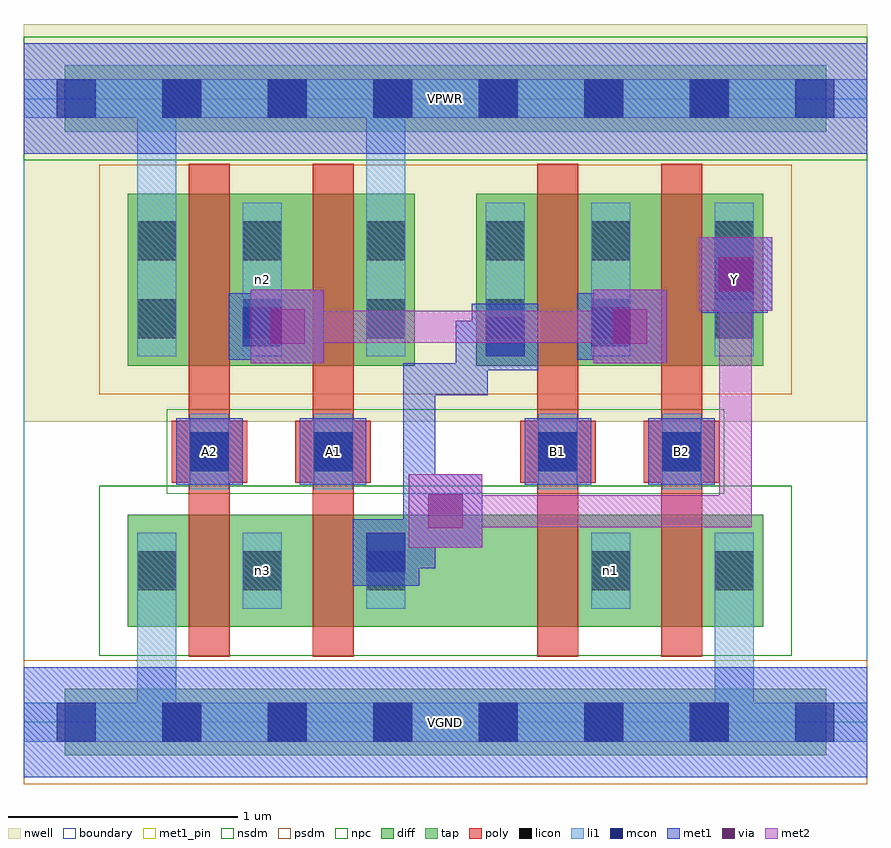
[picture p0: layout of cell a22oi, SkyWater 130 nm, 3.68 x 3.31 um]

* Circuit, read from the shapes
.subckt a22oi A1 A2 B1 B2 VGND VPWR Y n1 n2 n3
XM1 n3 A2 VGND VGND sky130_fd_pr__nfet_01v8 w=0.49 l=0.18
XM2 Y A1 n3 VGND sky130_fd_pr__nfet_01v8 w=0.49 l=0.18
XM3 n1 B1 Y VGND sky130_fd_pr__nfet_01v8 w=0.49 l=0.18
XM4 VGND B2 n1 VGND sky130_fd_pr__nfet_01v8 w=0.49 l=0.18
XM5 n2 A2 VPWR VPWR sky130_fd_pr__pfet_01v8 w=0.75 l=0.18
XM6 VPWR A1 n2 VPWR sky130_fd_pr__pfet_01v8 w=0.75 l=0.18
XM7 n2 B1 Y VPWR sky130_fd_pr__pfet_01v8 w=0.75 l=0.18
XM8 Y B2 n2 VPWR sky130_fd_pr__pfet_01v8 w=0.75 l=0.18
.ends

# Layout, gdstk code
import gdstk
lib = gdstk.Library(unit=1e-6, precision=1e-09)
def R(c, l, rs):  # rectangles x0, y0, x1, y1
    for r in rs: c.add(gdstk.rectangle(r[:2], r[2:], *l))
def A(c, l, x, y, w, h, nx, ny, dx, dy):  # array of equal rectangles
    R(c, l, [(x+i*dx, y+j*dy, x+i*dx+w, y+j*dy+h) for i in range(nx) for j in range(ny)])
nwell = (64, 20)
diff = (65, 20)
tap = (65, 44)
poly = (66, 20)
licon = (66, 44)
li1 = (67, 20)
mcon = (67, 44)
met1_pin = (68, 16)
met1 = (68, 20)
via = (68, 44)
met2 = (69, 20)
nsdm = (93, 44)
psdm = (94, 20)
npc = (95, 20)
boundary = (235, 4)

a22oi = lib.new_cell('a22oi')
R(a22oi, nwell, [(0,1.31,3.68,3.045)])
R(a22oi, diff, [(0.455,0.415,3.225,0.905), (0.455,1.555,1.705,2.305), (1.975,1.555,3.225,2.305)])
R(a22oi, tap, [(0.18,-0.145,3.5,0.145), (0.18,2.575,3.5,2.865)])
R(a22oi, poly, [(0.72,0.285,0.9,2.435), (1.26,0.285,1.44,2.435), (2.24,0.285,2.42,2.435), (2.78,0.285,2.96,2.435), (0.645,1.045,0.975,1.315), (1.185,1.045,1.515,1.315), (2.165,1.045,2.495,1.315), (2.705,1.045,3.035,1.315)])
A(a22oi, licon, 0.605, -0.085, 0.17, 0.17, 6, 2, 0.46, 2.72)
R(a22oi, licon, [(0.495,0.575,0.665,0.745), (0.955,0.575,1.125,0.745), (1.495,0.575,1.665,0.745), (2.475,0.575,2.645,0.745), (3.015,0.575,3.185,0.745), (0.725,1.095,0.895,1.265), (1.265,1.095,1.435,1.265), (2.245,1.095,2.415,1.265), (2.785,1.095,2.955,1.265), (0.495,1.675,0.665,1.845), (0.955,1.675,1.125,1.845), (1.495,1.675,1.665,1.845), (2.015,1.675,2.185,1.845), (2.475,1.675,2.645,1.845), (3.015,1.675,3.185,1.845), (0.495,2.015,0.665,2.185), (0.955,2.015,1.125,2.185), (1.495,2.015,1.665,2.185), (2.015,2.015,2.185,2.185), (2.475,2.015,2.645,2.185), (3.015,2.015,3.185,2.185)])
R(a22oi, li1, [(0,-0.085,3.68,0.085), (0.495,-0.085,0.665,0.825), (3.015,-0.085,3.185,0.825), (0.495,0.495,0.665,0.825), (0.955,0.495,1.125,0.825), (1.495,0.495,1.665,0.825), (2.475,0.495,2.645,0.825), (3.015,0.495,3.185,0.825), (0.725,1.015,0.895,1.345), (1.265,1.015,1.435,1.345), (2.245,1.015,2.415,1.345), (2.785,1.015,2.955,1.345), (0.495,1.595,0.665,2.265), (0.495,1.595,0.665,2.805), (0.955,1.595,1.125,2.265), (1.495,1.595,1.665,2.265), (1.495,1.595,1.665,2.805), (2.015,1.595,2.185,2.265), (2.475,1.595,2.645,2.265), (3.015,1.595,3.185,2.265), (0,2.635,3.68,2.805)])
A(a22oi, mcon, 0.145, -0.085, 0.17, 0.17, 8, 2, 0.46, 2.72)
R(a22oi, mcon, [(1.495,0.655,1.665,0.825), (0.725,1.095,0.895,1.265), (1.265,1.095,1.435,1.265), (2.245,1.095,2.415,1.265), (2.785,1.095,2.955,1.265), (2.015,1.595,2.185,1.765), (0.955,1.64,1.125,1.81), (2.475,1.64,2.645,1.81), (3.015,1.845,3.185,2.015)])
R(a22oi, met1_pin, [(0,-0.24,3.68,0.24), (0.665,1.035,0.955,1.325), (1.205,1.035,1.495,1.325), (2.185,1.035,2.475,1.325), (2.725,1.035,3.015,1.325), (2.955,1.785,3.245,2.075), (0,2.48,3.68,2.96)])
R(a22oi, met1, [(0,-0.24,3.68,0.24), (1.435,0.595,1.725,0.885), (1.51,0.67,1.795,0.81), (1.655,0.67,1.795,0.99), (1.68,0.76,2,1.08), (1.655,0.85,1.91,0.99), (1.655,0.85,1.795,1.565), (0.665,1.035,0.955,1.325), (1.205,1.035,1.495,1.325), (2.185,1.035,2.475,1.325), (2.725,1.035,3.015,1.325), (1.655,1.425,2.025,1.565), (1.885,1.425,2.025,1.75), (1.955,1.535,2.245,1.825), (0.99,1.565,1.31,1.885), (2.485,1.565,2.805,1.885), (0.895,1.58,1.185,1.87), (2.415,1.58,2.705,1.87), (1.885,1.61,2.17,1.75), (0.97,1.655,1.22,1.795), (2.49,1.655,2.715,1.795), (2.955,1.785,3.245,2.075), (2.945,1.795,3.265,2.115), (3.035,1.885,3.175,2.025), (0,2.48,3.68,2.96)])
R(a22oi, via, [(1.765,0.845,1.915,0.995), (1.075,1.65,1.225,1.8), (2.57,1.65,2.72,1.8), (3.03,1.88,3.18,2.03)])
R(a22oi, met2, [(1.68,0.76,2,1.08), (1.77,0.85,3.175,0.99), (3.035,0.85,3.175,2.025), (0.99,1.565,1.31,1.885), (2.485,1.565,2.805,1.885), (1.08,1.655,2.715,1.795), (2.945,1.795,3.265,2.115)])
R(a22oi, nsdm, [(0.33,0.29,3.35,1.03), (0,2.45,3.68,2.99)])
R(a22oi, psdm, [(0,-0.27,3.68,0.27), (0.33,1.43,3.35,2.43)])
R(a22oi, npc, [(0.625,0.995,3.055,1.365)])
R(a22oi, boundary, [(0,0,3.68,2.72)])
a22oi.add(gdstk.Label('n3', (1.04,0.66), layer=67, texttype=5))
a22oi.add(gdstk.Label('n1', (2.56,0.66), layer=67, texttype=5))
a22oi.add(gdstk.Label('n2', (1.04,1.93), layer=67, texttype=5))
a22oi.add(gdstk.Label('A1', (1.35,1.18), layer=68, texttype=5))
a22oi.add(gdstk.Label('A2', (0.81,1.18), layer=68, texttype=5))
a22oi.add(gdstk.Label('B1', (2.33,1.18), layer=68, texttype=5))
a22oi.add(gdstk.Label('B2', (2.87,1.18), layer=68, texttype=5))
a22oi.add(gdstk.Label('Y', (3.1,1.93), layer=68, texttype=5))
a22oi.add(gdstk.Label('VPWR', (1.84,2.72), layer=68, texttype=5))
a22oi.add(gdstk.Label('VGND', (1.84,0), layer=68, texttype=5))
a22oi.add(gdstk.Label('A1', (1.35,1.18), layer=68, texttype=16))
a22oi.add(gdstk.Label('A2', (0.81,1.18), layer=68, texttype=16))
a22oi.add(gdstk.Label('B1', (2.33,1.18), layer=68, texttype=16))
a22oi.add(gdstk.Label('B2', (2.87,1.18), layer=68, texttype=16))
a22oi.add(gdstk.Label('Y', (3.1,1.93), layer=68, texttype=16))
a22oi.add(gdstk.Label('VPWR', (1.84,2.72), layer=68, texttype=16))
a22oi.add(gdstk.Label('VGND', (1.84,0), layer=68, texttype=16))

lib.write_gds('a22oi.gds')
